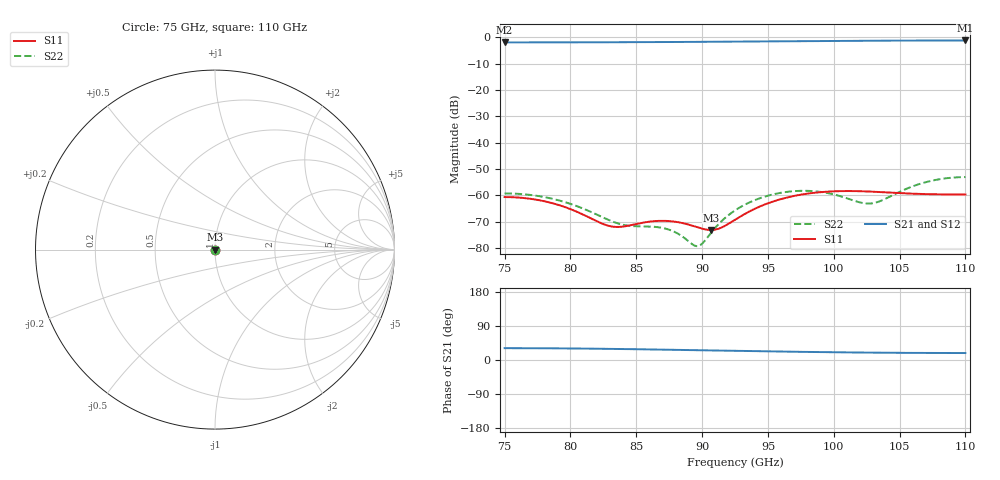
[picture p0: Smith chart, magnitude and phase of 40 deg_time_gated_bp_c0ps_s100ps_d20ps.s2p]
# Hz S RI R 50.000000
! Metas.Vna.Tools, 2.4.7724.19584
! Metas.Vna.Data, 2.4.7724.19560
! Created: UTC 2021.04.29 12:40:11
! FREQ  re:S1,1  im:S1,1  re:S2,1  im:S2,1  re:S1,2  im:S1,2  re:S2,2  im:S2,2
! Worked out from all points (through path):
!   1401 points, 75 GHz to 110 GHz, reference 50 ohm
!   highest |S21| = -1.18 dB at 110 GHz (marker M1); lowest = -1.9 dB at 75 GHz (marker M2)
!   lowest |S11| = -73.2 dB at 90.67 GHz (marker M3), VSWR 1.00, Z = 50 + j0.000364 ohm
!   |S11| at or under -10 dB: start of sweep to end of sweep
!   |S22| runs from -79.3 to -53.1 dB; largest |S21 - S12| = 0.051
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7.5e10  -0.000554 -0.000741  0.6857 0.4159  0.692 0.4087  0.00103 0.000337
7.805e10  -0.000511 -0.000572  0.6884 0.4129  0.6948 0.4055  0.000896 0.00021
8.085e10  -0.00039 -0.000208  0.6953 0.405  0.702 0.397  0.000572 -4e-05
8.245e10  -0.000286 1.44e-05  0.701 0.3986  0.708 0.39  0.000342 -0.000169
8.3325e10  -0.00022 0.000122  0.7046 0.3946  0.7118 0.3855  0.000217 -0.000219
8.445e10  -0.00013 0.000232  0.7097 0.3889  0.7172 0.3792  6.85e-05 -0.000254
8.6675e10  4.67e-05 0.000322  0.7213 0.3765  0.7293 0.365  -0.000131 -0.000209
8.795e10  0.000131 0.000286  0.7285 0.3688  0.7371 0.356  -0.000161 -0.000117
8.9575e10  0.000202 0.000147  0.7383 0.3587  0.7476 0.3437  -9.31e-05 5.48e-05
9e10  0.000212 9.55e-05  0.741 0.356  0.7504 0.3404  -5.57e-05 0.000107
9.0675e10  0.000219 3.64e-06  0.7452 0.3517  0.755 0.3351  1.88e-05 0.000192
9.1425e10  0.000214 -0.000111  0.75 0.3469  0.7602 0.3292  0.00012 0.000289
9.25e10  0.000182 -0.000289  0.7569 0.3401  0.7676 0.3205  0.000291 0.000425
9.38e10  0.000107 -0.000511  0.7652 0.332  0.7767 0.31  0.000513 0.000575
9.525e10  -1.88e-05 -0.00074  0.7744 0.3233  0.7868 0.2984  0.000735 0.000706
9.835e10  -0.00037 -0.00104  0.7928 0.3063  0.8072 0.2749  0.000873 0.000827
9.985e10  -0.000543 -0.00105  0.8008 0.2992  0.8161 0.2646  0.000686 0.000808
1.0245e11  -0.000789 -0.000882  0.8128 0.2888  0.8296 0.2492  -3.82e-05 0.000697
1.032e11  -0.000842 -0.000799  0.8158 0.2863  0.8329 0.2454  -0.000316 0.000655
1.04175e11  -0.000899 -0.000681  0.8191 0.2834  0.8367 0.2411  -0.000697 0.0006
1.07025e11  -0.000993 -0.000346  0.8263 0.2775  0.8447 0.2319  -0.00172 0.000461
1.1e11  -0.00102 -0.000193  0.8288 0.2754  0.8477 0.2285  -0.00218 0.000404
